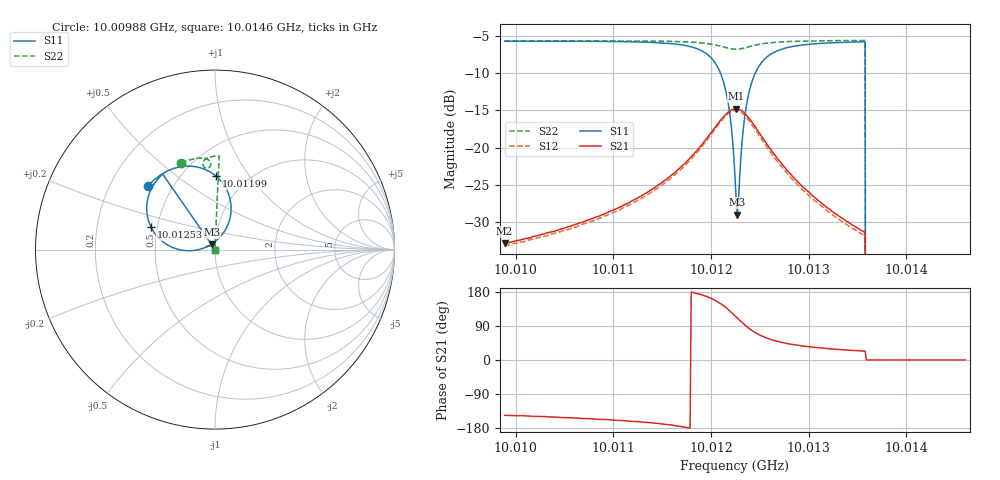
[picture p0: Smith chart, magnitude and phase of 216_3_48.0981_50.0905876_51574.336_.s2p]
#  HZ  S  RI  R  50.00
! Rohde & Schwarz Vector Network Analyzer
! Rohde-Schwarz,ZNB20-2Port,1311601062101988,3.16
! Created: UTC 12/23/2023, 3:56:17 AM
! freq[Hz]  re:S11  im:S11  re:S21  im:S21  re:S12  im:S12  re:S22  im:S22
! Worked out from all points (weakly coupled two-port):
!   401 points, 10.00988 GHz to 10.0146 GHz, reference 50 ohm
!   highest |S21| = -14.79 dB at 10.01226 GHz (marker M1); lowest = -32.8 dB at 10.00988 GHz (marker M2)
!   lowest |S11| = -28.9 dB at 10.01227 GHz (marker M3), VSWR 1.07, Z = 48.1 + j2.93 ohm
!   |S11| at or under -10 dB: 10.0121 GHz to 10.01245 GHz (357.8 kHz wide, 0.00357 % of centre); 10.01358 GHz to end of sweep
!   |S22| runs from - to -5.6 dB; largest |S21 - S12| = 0.0087
!   S11 on the Smith chart (normalised r, x): 10.00988 GHz: 0.36, +0.36; 10.01199 GHz: 0.72, +0.71; 10.01253 GHz: 0.46, +0.14; 10.0146 GHz: 1.00, +0.00
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1.0009885e10  -0.3724 0.3571  -0.0191 -0.0129  -0.0174 -0.0133  -0.189 0.4829
1.0010675e10  -0.3167 0.4065  -0.0284 -0.0138  -0.0268 -0.0148  -0.1382 0.5003
1.0011466e10  -0.2115 0.4576  -0.0553 -0.0121  -0.0526 -0.0144  -0.0805 0.5103
1.0011796e10  -0.1051 0.4613  -0.087 0.000712  -0.0839 -0.00391  -0.0502 0.5068
1.0011985e10  0.00612 0.4088  -0.1179 0.033  -0.1159 0.0261  -0.0306 0.4944
1.001208e10  0.0685 0.3268  -0.1298 0.0703  -0.13 0.0619  -0.024 0.4809
1.001215e10  0.0898 0.2224  -0.1258 0.1103  -0.128 0.102  -0.0254 0.4675
1.0012198e10  0.0721 0.139  -0.1094 0.1395  -0.1129 0.1316  -0.0314 0.4592
1.0012245e10  0.0194 0.0609  -0.0812 0.1629  -0.0858 0.1556  -0.0409 0.4545
1.0012257e10  0.00117 0.0446  -0.0726 0.167  -0.0777 0.1599  -0.0435 0.454
1.0012268e10  -0.0187 0.0305  -0.064 0.1702  -0.0691 0.1633  -0.0463 0.454
1.0012292e10  -0.0618 0.00882  -0.0461 0.1737  -0.0509 0.1674  -0.0516 0.455
1.0012339e10  -0.1512 -0.00643  -0.0113 0.1706  -0.0158 0.1649  -0.0607 0.4604
1.0012375e10  -0.2127 0.00351  0.0112 0.161  0.00557 0.1558  -0.0649 0.4666
1.0012434e10  -0.2912 0.0443  0.037 0.1388  0.0308 0.1345  -0.0674 0.4776
1.0012528e10  -0.3576 0.1274  0.054 0.1031  0.0483 0.1004  -0.0635 0.4924
1.001274e10  -0.3785 0.2619  0.0531 0.0539  0.0481 0.0535  -0.0442 0.5099
1.0013035e10  -0.3482 0.351  0.0397 0.027  0.0367 0.0274  -0.0181 0.5182
1.0013555e10  -0.2936 0.4187  0.0253 0.0111  0.0234 0.0119  0.0215 0.5218
1.0013614e10  0 0  0 0  0 0  0 0
1.0013826e10  0 0  0 0  0 0  0 0
1.0014605e10  0 0  0 0  0 0  0 0
